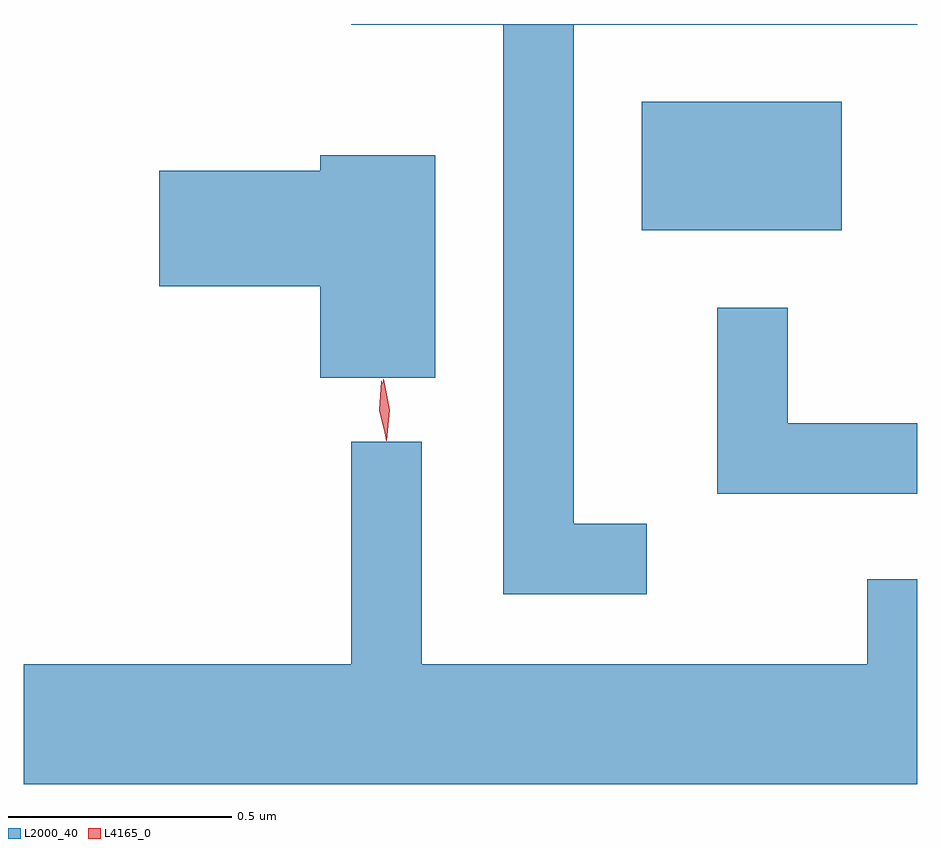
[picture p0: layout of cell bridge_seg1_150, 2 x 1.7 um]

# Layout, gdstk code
import gdstk
lib = gdstk.Library(unit=1e-6, precision=1e-09)
def R(c, l, rs):  # rectangles x0, y0, x1, y1
    for r in rs: c.add(gdstk.rectangle(r[:2], r[2:], *l))
def P(c, l, *ps):  # polygons
    for p in ps: c.add(gdstk.Polygon(p, *l))
L2000_40 = (2000, 40)
L4165_0 = (4165, 0)

bridge_seg1_150 = lib.new_cell('bridge_seg1_150')
R(bridge_seg1_150, L2000_40, [(911.976,925.236,912.424,925.524)])
P(bridge_seg1_150, L2000_40, [(911.988,924.579),(911.824,924.579),(911.824,925.696),(912.593,925.696),(912.593,925.698),(911.326,925.698),(911.326,925.696),(911.666,925.696),(911.666,924.421),(911.988,924.421)],
  [(911.514,925.404),(911.256,925.404),(911.256,925.369),(910.896,925.369),(910.896,925.111),(911.256,925.111),(911.256,924.906),(911.514,924.906)],
  [(912.593,924.804),(912.304,924.804),(912.304,925.063),(912.146,925.063),(912.146,924.646),(912.593,924.646)],
  [(912.593,924.454),(912.481,924.454),(912.481,924.264),(911.484,924.264),(911.484,924.763),(911.326,924.763),(911.326,924.264),(910.593,924.264),(910.593,923.996),(912.593,923.996)])
P(bridge_seg1_150, L4165_0, [(911.404,924.765),(911.404,924.765),(911.392,924.833),(911.398,924.902),(911.399,924.902),(911.399,924.902),(911.412,924.834),(911.405,924.765)],
  [(911.404,924.768),(911.404,924.769),(911.389,924.833),(911.393,924.898),(911.394,924.899),(911.394,924.898),(911.409,924.834),(911.405,924.769)])

lib.write_gds('bridge_seg1_150.gds')
